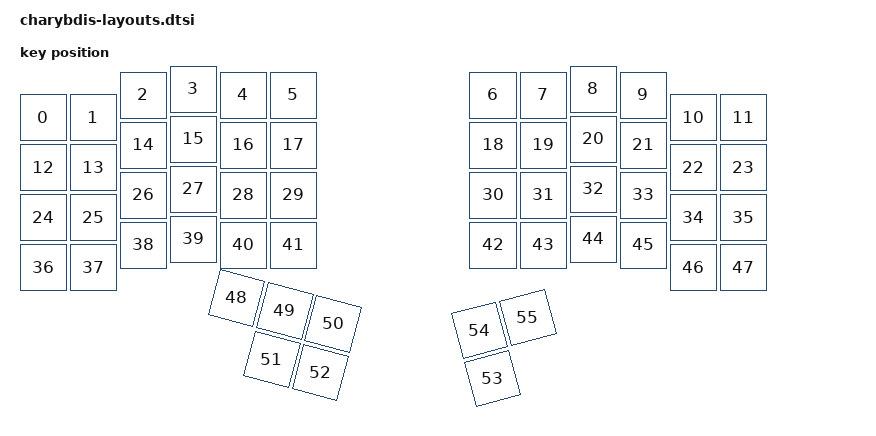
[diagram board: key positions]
#include <physical_layouts.dtsi>

/ {
    charybdis_6col_layout: charybdis_6col_layout {
        compatible = "zmk,physical-layout";
        display-name = "6-column";

        keys  //                     w   h    x    y     rot    rx    ry
            = <&key_physical_attrs 100 100    0   57       0     0     0>
            , <&key_physical_attrs 100 100  100   57       0     0     0>
            , <&key_physical_attrs 100 100  200   12       0     0     0>
            , <&key_physical_attrs 100 100  300    0       0     0     0>
            , <&key_physical_attrs 100 100  400   12       0     0     0>
            , <&key_physical_attrs 100 100  500   12       0     0     0>
            , <&key_physical_attrs 100 100  900   12       0     0     0>
            , <&key_physical_attrs 100 100 1000   12       0     0     0>
            , <&key_physical_attrs 100 100 1100    0       0     0     0>
            , <&key_physical_attrs 100 100 1200   12       0     0     0>
            , <&key_physical_attrs 100 100 1300   57       0     0     0>
            , <&key_physical_attrs 100 100 1400   57       0     0     0>
            , <&key_physical_attrs 100 100    0  157       0     0     0>
            , <&key_physical_attrs 100 100  100  157       0     0     0>
            , <&key_physical_attrs 100 100  200  112       0     0     0>
            , <&key_physical_attrs 100 100  300  100       0     0     0>
            , <&key_physical_attrs 100 100  400  112       0     0     0>
            , <&key_physical_attrs 100 100  500  112       0     0     0>
            , <&key_physical_attrs 100 100  900  112       0     0     0>
            , <&key_physical_attrs 100 100 1000  112       0     0     0>
            , <&key_physical_attrs 100 100 1100  100       0     0     0>
            , <&key_physical_attrs 100 100 1200  112       0     0     0>
            , <&key_physical_attrs 100 100 1300  157       0     0     0>
            , <&key_physical_attrs 100 100 1400  157       0     0     0>
            , <&key_physical_attrs 100 100    0  257       0     0     0>
            , <&key_physical_attrs 100 100  100  257       0     0     0>
            , <&key_physical_attrs 100 100  200  212       0     0     0>
            , <&key_physical_attrs 100 100  300  200       0     0     0>
            , <&key_physical_attrs 100 100  400  212       0     0     0>
            , <&key_physical_attrs 100 100  500  212       0     0     0>
            , <&key_physical_attrs 100 100  900  212       0     0     0>
            , <&key_physical_attrs 100 100 1000  212       0     0     0>
            , <&key_physical_attrs 100 100 1100  200       0     0     0>
            , <&key_physical_attrs 100 100 1200  212       0     0     0>
            , <&key_physical_attrs 100 100 1300  257       0     0     0>
            , <&key_physical_attrs 100 100 1400  257       0     0     0>
            , <&key_physical_attrs 100 100    0  357       0     0     0>
            , <&key_physical_attrs 100 100  100  357       0     0     0>
            , <&key_physical_attrs 100 100  200  312       0     0     0>
            , <&key_physical_attrs 100 100  300  300       0     0     0>
            , <&key_physical_attrs 100 100  400  312       0     0     0>
            , <&key_physical_attrs 100 100  500  312       0     0     0>
            , <&key_physical_attrs 100 100  900  312       0     0     0>
            , <&key_physical_attrs 100 100 1000  312       0     0     0>
            , <&key_physical_attrs 100 100 1100  300       0     0     0>
            , <&key_physical_attrs 100 100 1200  312       0     0     0>
            , <&key_physical_attrs 100 100 1300  357       0     0     0>
            , <&key_physical_attrs 100 100 1400  357       0     0     0>
            , <&key_physical_attrs 100 100  300  420    1500   400   800>
            , <&key_physical_attrs 100 100  400  420    1500   400   800>
            , <&key_physical_attrs 100 100  500  420    1500   400   800>
            , <&key_physical_attrs 100 100  400  520    1500   400   800>
            , <&key_physical_attrs 100 100  500  520    1500   400   800>
            , <&key_physical_attrs 100 100  952  520 (-1500)  1200   800>
            , <&key_physical_attrs 100 100  952  420 (-1500)  1200   800>
            , <&key_physical_attrs 100 100 1052  420 (-1500)  1200   800>
            ;
    };
};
